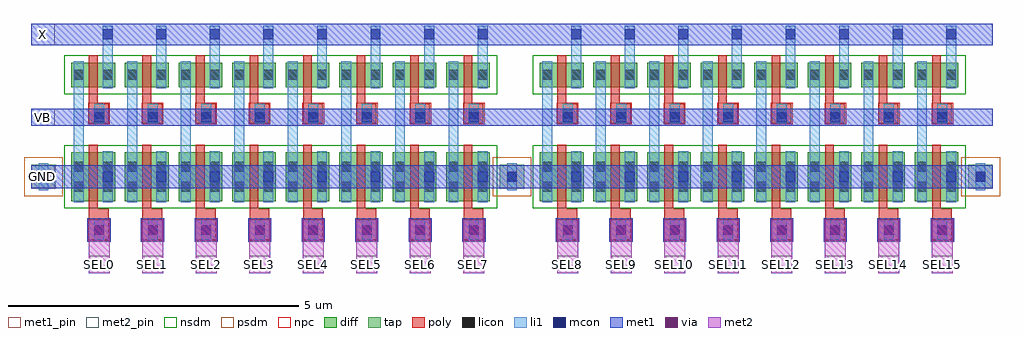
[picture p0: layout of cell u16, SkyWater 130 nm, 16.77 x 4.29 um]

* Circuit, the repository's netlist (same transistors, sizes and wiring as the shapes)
* NGSPICE file created from u16.ext - technology: sky130A

.subckt u16 SEL0 SEL1 SEL2 SEL3 SEL4 SEL5 SEL6 SEL7 SEL8 SEL9 SEL10 SEL11 SEL12 SEL13
+ SEL14 SEL15 X VB GND
X0 X VB a_1426_n392# GND sky130_fd_pr__nfet_01v8 ad=0.126 pd=1.44 as=0.126 ps=1.44 w=0.42 l=0.15
X1 GND SEL7 a_1426_n392# GND sky130_fd_pr__nfet_01v8 ad=0.252 pd=2.28 as=0.252 ps=2.28 w=0.84 l=0.15
X2 X VB a_690_n392# GND sky130_fd_pr__nfet_01v8 ad=0.126 pd=1.44 as=0.126 ps=1.44 w=0.42 l=0.15
X3 X VB a_1932_n392# GND sky130_fd_pr__nfet_01v8 ad=0.126 pd=1.44 as=0.126 ps=1.44 w=0.42 l=0.15
X4 X VB a_1058_n392# GND sky130_fd_pr__nfet_01v8 ad=0.126 pd=1.44 as=0.126 ps=1.44 w=0.42 l=0.15
X5 X VB a_2852_n392# GND sky130_fd_pr__nfet_01v8 ad=0.126 pd=1.44 as=0.126 ps=1.44 w=0.42 l=0.15
X6 GND SEL3 a_690_n392# GND sky130_fd_pr__nfet_01v8 ad=0.252 pd=2.28 as=0.252 ps=2.28 w=0.84 l=0.15
X7 X VB a_874_n392# GND sky130_fd_pr__nfet_01v8 ad=0.126 pd=1.44 as=0.126 ps=1.44 w=0.42 l=0.15
X8 X VB a_2116_n392# GND sky130_fd_pr__nfet_01v8 ad=0.126 pd=1.44 as=0.126 ps=1.44 w=0.42 l=0.15
X9 GND SEL4 a_874_n392# GND sky130_fd_pr__nfet_01v8 ad=0.252 pd=2.28 as=0.252 ps=2.28 w=0.84 l=0.15
X10 GND SEL11 a_2300_n392# GND sky130_fd_pr__nfet_01v8 ad=0.252 pd=2.28 as=0.252 ps=2.28 w=0.84 l=0.15
X11 GND SEL5 a_1058_n392# GND sky130_fd_pr__nfet_01v8 ad=0.252 pd=2.28 as=0.252 ps=2.28 w=0.84 l=0.15
X12 X VB a_1242_n392# GND sky130_fd_pr__nfet_01v8 ad=0.126 pd=1.44 as=0.126 ps=1.44 w=0.42 l=0.15
X13 X VB a_138_n392# GND sky130_fd_pr__nfet_01v8 ad=0.126 pd=1.44 as=0.126 ps=1.44 w=0.42 l=0.15
X14 GND SEL0 a_138_n392# GND sky130_fd_pr__nfet_01v8 ad=0.252 pd=2.28 as=0.252 ps=2.28 w=0.84 l=0.15
X15 GND SEL12 a_2484_n392# GND sky130_fd_pr__nfet_01v8 ad=0.252 pd=2.28 as=0.252 ps=2.28 w=0.84 l=0.15
X16 X VB a_1748_n392# GND sky130_fd_pr__nfet_01v8 ad=0.126 pd=1.44 as=0.126 ps=1.44 w=0.42 l=0.15
X17 GND SEL13 a_2668_n392# GND sky130_fd_pr__nfet_01v8 ad=0.252 pd=2.28 as=0.252 ps=2.28 w=0.84 l=0.15
X18 X VB a_2300_n392# GND sky130_fd_pr__nfet_01v8 ad=0.126 pd=1.44 as=0.126 ps=1.44 w=0.42 l=0.15
X19 GND SEL9 a_1932_n392# GND sky130_fd_pr__nfet_01v8 ad=0.252 pd=2.28 as=0.252 ps=2.28 w=0.84 l=0.15
X20 GND SEL15 a_3036_n392# GND sky130_fd_pr__nfet_01v8 ad=0.252 pd=2.28 as=0.252 ps=2.28 w=0.84 l=0.15
X21 X VB a_322_n392# GND sky130_fd_pr__nfet_01v8 ad=0.126 pd=1.44 as=0.126 ps=1.44 w=0.42 l=0.15
X22 GND SEL6 a_1242_n392# GND sky130_fd_pr__nfet_01v8 ad=0.252 pd=2.28 as=0.252 ps=2.28 w=0.84 l=0.15
X23 X VB a_2484_n392# GND sky130_fd_pr__nfet_01v8 ad=0.126 pd=1.44 as=0.126 ps=1.44 w=0.42 l=0.15
X24 GND SEL1 a_322_n392# GND sky130_fd_pr__nfet_01v8 ad=0.252 pd=2.28 as=0.252 ps=2.28 w=0.84 l=0.15
X25 X VB a_3036_n392# GND sky130_fd_pr__nfet_01v8 ad=0.126 pd=1.44 as=0.126 ps=1.44 w=0.42 l=0.15
X26 X VB a_506_n392# GND sky130_fd_pr__nfet_01v8 ad=0.126 pd=1.44 as=0.126 ps=1.44 w=0.42 l=0.15
X27 GND SEL2 a_506_n392# GND sky130_fd_pr__nfet_01v8 ad=0.252 pd=2.28 as=0.252 ps=2.28 w=0.84 l=0.15
X28 GND SEL14 a_2852_n392# GND sky130_fd_pr__nfet_01v8 ad=0.252 pd=2.28 as=0.252 ps=2.28 w=0.84 l=0.15
X29 X VB a_2668_n392# GND sky130_fd_pr__nfet_01v8 ad=0.126 pd=1.44 as=0.126 ps=1.44 w=0.42 l=0.15
X30 GND SEL8 a_1748_n392# GND sky130_fd_pr__nfet_01v8 ad=0.252 pd=2.28 as=0.252 ps=2.28 w=0.84 l=0.15
X31 GND SEL10 a_2116_n392# GND sky130_fd_pr__nfet_01v8 ad=0.252 pd=2.28 as=0.252 ps=2.28 w=0.84 l=0.15
.ends

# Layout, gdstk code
import gdstk
lib = gdstk.Library(unit=1e-6, precision=1e-09)
def R(c, l, rs):  # rectangles x0, y0, x1, y1
    for r in rs: c.add(gdstk.rectangle(r[:2], r[2:], *l))
def A(c, l, x, y, w, h, nx, ny, dx, dy):  # array of equal rectangles
    R(c, l, [(x+i*dx, y+j*dy, x+i*dx+w, y+j*dy+h) for i in range(nx) for j in range(ny)])
diff = (65, 20)
tap = (65, 44)
poly = (66, 20)
licon = (66, 44)
li1 = (67, 20)
mcon = (67, 44)
met1_pin = (68, 16)
met1 = (68, 20)
via = (68, 44)
met2_pin = (69, 16)
met2 = (69, 20)
nsdm = (93, 44)
psdm = (94, 20)
npc = (95, 20)

u16 = lib.new_cell('u16')
A(u16, diff, 0.69, -1.96, 0.75, 0.84, 8, 1, 0.92, 0)
A(u16, diff, 8.74, -1.96, 0.75, 0.84, 8, 1, 0.92, 0)
A(u16, diff, 0.69, 0, 0.75, 0.42, 8, 1, 0.92, 0)
A(u16, diff, 8.74, 0, 0.75, 0.42, 8, 1, 0.92, 0)
A(u16, tap, 0, -1.75, 0.42, 0.42, 3, 1, 8.05, 0)
A(u16, poly, 0.99, -2.62, 0.34, 0.53, 8, 1, 0.92, 0)
A(u16, poly, 9.04, -2.62, 0.34, 0.53, 8, 1, 0.92, 0)
A(u16, poly, 0.99, -2.09, 0.15, 1.1, 8, 1, 0.92, 0)
A(u16, poly, 9.04, -2.09, 0.15, 1.1, 8, 1, 0.92, 0)
A(u16, poly, 0.99, -0.62, 0.34, 0.33, 8, 1, 0.92, 0)
A(u16, poly, 9.04, -0.62, 0.34, 0.33, 8, 1, 0.92, 0)
A(u16, poly, 0.99, -0.29, 0.15, 0.84, 8, 1, 0.92, 0)
A(u16, poly, 9.04, -0.29, 0.15, 0.84, 8, 1, 0.92, 0)
A(u16, licon, 1.08, -2.54, 0.17, 0.17, 8, 2, 0.92, 2)
A(u16, licon, 9.13, -2.54, 0.17, 0.17, 8, 2, 0.92, 2)
A(u16, licon, 0.125, -1.625, 0.17, 0.17, 3, 1, 8.05, 0)
R(u16, licon, [(0.73,-1.795,0.9,-1.625), (1.23,-1.795,1.4,-1.625), (1.65,-1.795,1.82,-1.625), (2.15,-1.795,2.32,-1.625), (2.57,-1.795,2.74,-1.625), (3.07,-1.795,3.24,-1.625), (3.49,-1.795,3.66,-1.625), (3.99,-1.795,4.16,-1.625), (4.41,-1.795,4.58,-1.625), (4.91,-1.795,5.08,-1.625), (5.33,-1.795,5.5,-1.625), (5.83,-1.795,6,-1.625), (6.25,-1.795,6.42,-1.625), (6.75,-1.795,6.92,-1.625), (7.17,-1.795,7.34,-1.625), (7.67,-1.795,7.84,-1.625), (8.78,-1.795,8.95,-1.625), (9.28,-1.795,9.45,-1.625), (9.7,-1.795,9.87,-1.625), (10.2,-1.795,10.37,-1.625), (10.62,-1.795,10.79,-1.625), (11.12,-1.795,11.29,-1.625), (11.54,-1.795,11.71,-1.625), (12.04,-1.795,12.21,-1.625), (12.46,-1.795,12.63,-1.625), (12.96,-1.795,13.13,-1.625), (13.38,-1.795,13.55,-1.625), (13.88,-1.795,14.05,-1.625), (14.3,-1.795,14.47,-1.625), (14.8,-1.795,14.97,-1.625), (15.22,-1.795,15.39,-1.625), (15.72,-1.795,15.89,-1.625), (0.73,-1.455,0.9,-1.285), (1.23,-1.455,1.4,-1.285), (1.65,-1.455,1.82,-1.285), (2.15,-1.455,2.32,-1.285), (2.57,-1.455,2.74,-1.285), (3.07,-1.455,3.24,-1.285), (3.49,-1.455,3.66,-1.285), (3.99,-1.455,4.16,-1.285), (4.41,-1.455,4.58,-1.285), (4.91,-1.455,5.08,-1.285), (5.33,-1.455,5.5,-1.285), (5.83,-1.455,6,-1.285), (6.25,-1.455,6.42,-1.285), (6.75,-1.455,6.92,-1.285), (7.17,-1.455,7.34,-1.285), (7.67,-1.455,7.84,-1.285), (8.78,-1.455,8.95,-1.285), (9.28,-1.455,9.45,-1.285), (9.7,-1.455,9.87,-1.285), (10.2,-1.455,10.37,-1.285), (10.62,-1.455,10.79,-1.285), (11.12,-1.455,11.29,-1.285), (11.54,-1.455,11.71,-1.285), (12.04,-1.455,12.21,-1.285), (12.46,-1.455,12.63,-1.285), (12.96,-1.455,13.13,-1.285), (13.38,-1.455,13.55,-1.285), (13.88,-1.455,14.05,-1.285), (14.3,-1.455,14.47,-1.285), (14.8,-1.455,14.97,-1.285), (15.22,-1.455,15.39,-1.285), (15.72,-1.455,15.89,-1.285), (0.73,0.125,0.9,0.295), (1.23,0.125,1.4,0.295), (1.65,0.125,1.82,0.295), (2.15,0.125,2.32,0.295), (2.57,0.125,2.74,0.295), (3.07,0.125,3.24,0.295), (3.49,0.125,3.66,0.295), (3.99,0.125,4.16,0.295), (4.41,0.125,4.58,0.295), (4.91,0.125,5.08,0.295), (5.33,0.125,5.5,0.295), (5.83,0.125,6,0.295), (6.25,0.125,6.42,0.295), (6.75,0.125,6.92,0.295), (7.17,0.125,7.34,0.295), (7.67,0.125,7.84,0.295), (8.78,0.125,8.95,0.295), (9.28,0.125,9.45,0.295), (9.7,0.125,9.87,0.295), (10.2,0.125,10.37,0.295), (10.62,0.125,10.79,0.295), (11.12,0.125,11.29,0.295), (11.54,0.125,11.71,0.295), (12.04,0.125,12.21,0.295), (12.46,0.125,12.63,0.295), (12.96,0.125,13.13,0.295), (13.38,0.125,13.55,0.295), (13.88,0.125,14.05,0.295), (14.3,0.125,14.47,0.295), (14.8,0.125,14.97,0.295), (15.22,0.125,15.39,0.295), (15.72,0.125,15.89,0.295)])
A(u16, li1, 1.08, -2.62, 0.17, 0.33, 8, 2, 0.92, 2)
A(u16, li1, 9.13, -2.62, 0.17, 0.33, 8, 2, 0.92, 2)
A(u16, li1, 0.73, -1.98, 0.17, 2.42, 8, 1, 0.92, 0)
A(u16, li1, 1.23, -1.98, 0.17, 0.88, 8, 1, 0.92, 0)
A(u16, li1, 8.78, -1.98, 0.17, 2.42, 8, 1, 0.92, 0)
A(u16, li1, 9.28, -1.98, 0.17, 0.88, 8, 1, 0.92, 0)
A(u16, li1, 0.125, -1.77, 0.17, 0.46, 3, 1, 8.05, 0)
A(u16, li1, 1.23, -0.02, 0.17, 1.07, 8, 1, 0.92, 0)
A(u16, li1, 9.28, -0.02, 0.17, 1.07, 8, 1, 0.92, 0)
A(u16, mcon, 1.08, -2.54, 0.17, 0.17, 8, 2, 0.92, 1.94)
A(u16, mcon, 9.13, -2.54, 0.17, 0.17, 8, 2, 0.92, 1.94)
A(u16, mcon, 1.23, -1.625, 0.17, 0.17, 8, 2, 0.92, 2.445)
A(u16, mcon, 9.28, -1.625, 0.17, 0.17, 8, 2, 0.92, 2.445)
R(u16, mcon, [(0.125,-1.625,0.295,-1.455), (8.175,-1.625,8.345,-1.455), (16.225,-1.625,16.395,-1.455)])
R(u16, met1_pin, [(0,-1.74,0.4,-1.34), (0,-0.66,0.4,-0.37), (0,0.72,0.4,1.09)])
A(u16, met1, 0.965, -2.655, 0.4, 0.4, 8, 1, 0.92, 0)
A(u16, met1, 9.015, -2.655, 0.4, 0.4, 8, 1, 0.92, 0)
R(u16, met1, [(0,-1.74,16.52,-1.34), (0,-0.66,16.52,-0.37), (0,0.72,16.52,1.09)])
A(u16, via, 1.09, -2.53, 0.15, 0.15, 8, 1, 0.92, 0)
A(u16, via, 9.14, -2.53, 0.15, 0.15, 8, 1, 0.92, 0)
A(u16, met2_pin, 0.985, -3.2, 0.36, 0.3, 8, 1, 0.92, 0)
A(u16, met2_pin, 9.035, -3.2, 0.36, 0.3, 8, 1, 0.92, 0)
A(u16, met2, 0.985, -3.2, 0.36, 0.925, 8, 1, 0.92, 0)
A(u16, met2, 9.035, -3.2, 0.36, 0.925, 8, 1, 0.92, 0)
R(u16, nsdm, [(0.565,-2.085,8.005,-0.995), (8.615,-2.085,16.055,-0.995), (0.565,-0.125,8.005,0.545), (8.615,-0.125,16.055,0.545)])
A(u16, psdm, -0.125, -1.875, 0.67, 0.67, 3, 1, 8.05, 0)
A(u16, npc, 0.98, -2.64, 0.37, 0.37, 8, 2, 0.92, 2)
A(u16, npc, 9.03, -2.64, 0.37, 0.37, 8, 2, 0.92, 2)
u16.add(gdstk.Label('SEL0', (1.165,-3.05), layer=69, texttype=5))
u16.add(gdstk.Label('SEL1', (2.085,-3.05), layer=69, texttype=5))
u16.add(gdstk.Label('SEL2', (3.005,-3.05), layer=69, texttype=5))
u16.add(gdstk.Label('SEL3', (3.925,-3.05), layer=69, texttype=5))
u16.add(gdstk.Label('SEL4', (4.845,-3.05), layer=69, texttype=5))
u16.add(gdstk.Label('SEL5', (5.765,-3.05), layer=69, texttype=5))
u16.add(gdstk.Label('SEL6', (6.685,-3.05), layer=69, texttype=5))
u16.add(gdstk.Label('SEL7', (7.605,-3.05), layer=69, texttype=5))
u16.add(gdstk.Label('SEL8', (9.215,-3.05), layer=69, texttype=5))
u16.add(gdstk.Label('SEL9', (10.135,-3.05), layer=69, texttype=5))
u16.add(gdstk.Label('SEL10', (11.055,-3.05), layer=69, texttype=5))
u16.add(gdstk.Label('SEL11', (11.975,-3.05), layer=69, texttype=5))
u16.add(gdstk.Label('SEL12', (12.895,-3.05), layer=69, texttype=5))
u16.add(gdstk.Label('SEL13', (13.815,-3.05), layer=69, texttype=5))
u16.add(gdstk.Label('SEL14', (14.735,-3.05), layer=69, texttype=5))
u16.add(gdstk.Label('SEL15', (15.655,-3.05), layer=69, texttype=5))
u16.add(gdstk.Label('X', (0.2,0.905), layer=68, texttype=5))
u16.add(gdstk.Label('VB', (0.2,-0.515), layer=68, texttype=5))
u16.add(gdstk.Label('GND', (0.2,-1.54), layer=68, texttype=5))

lib.write_gds('u16.gds')
